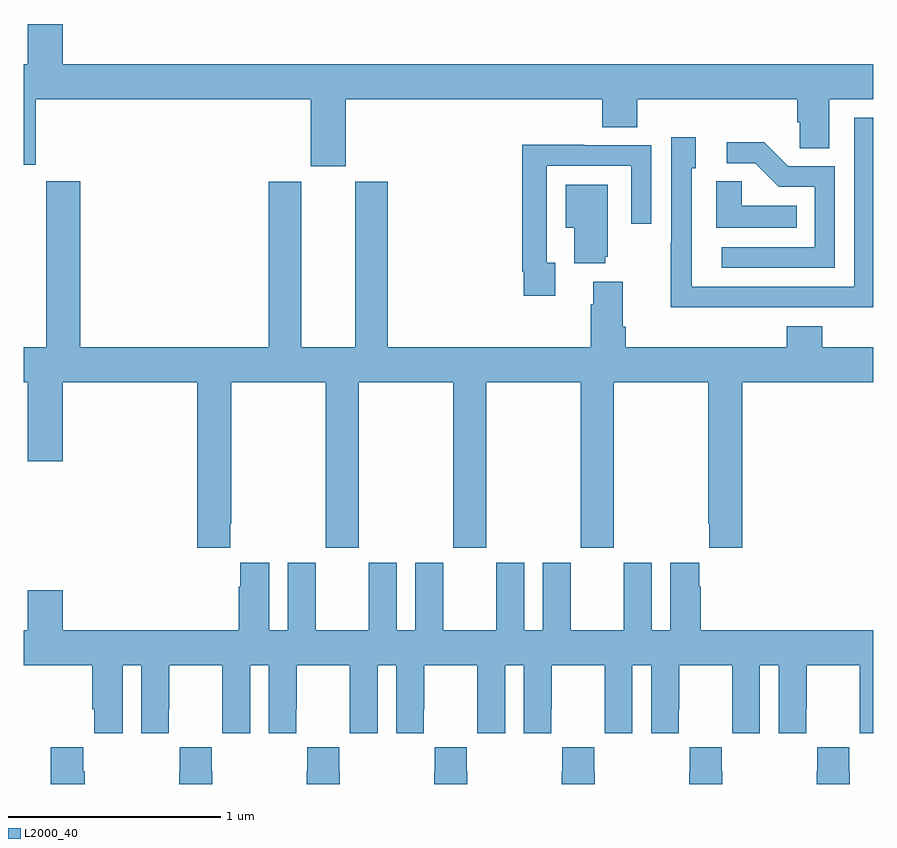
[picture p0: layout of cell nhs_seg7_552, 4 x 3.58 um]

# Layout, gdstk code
import gdstk
lib = gdstk.Library(unit=1e-6, precision=1e-09)
def P(c, l, *ps):  # polygons
    for p in ps: c.add(gdstk.Polygon(p, *l))
L2000_40 = (2000, 40)

nhs_seg7_552 = lib.new_cell('nhs_seg7_552')
P(nhs_seg7_552, L2000_40, [(153.02,1059.388),(153,1059.388),(153,1058.915),(153.058,1058.915),(153.058,1059.224),(154.352,1059.224),(154.352,1058.907),(154.516,1058.907),(154.516,1059.224),(155.723,1059.224),(155.723,1059.091),(155.888,1059.091),(155.888,1059.224),(156.641,1059.224),(156.641,1059.115),(156.654,1059.115),(156.654,1058.992),(156.793,1058.992),(156.793,1059.224),(157,1059.224),(157,1059.388),(153.184,1059.388),(153.184,1059.577),(153.02,1059.577)],
  [(156.509,1058.244),(157,1058.244),(157,1059.135),(156.909,1059.135),(156.909,1058.34),(156.144,1058.34),(156.144,1058.898),(156.163,1058.898),(156.163,1059.043),(156.048,1059.043),(156.048,1058.549),(156.046,1058.549),(156.046,1058.243),(156.509,1058.243)],
  [(156.819,1058.907),(156.6,1058.907),(156.487,1059.02),(156.309,1059.02),(156.309,1058.922),(156.443,1058.922),(156.554,1058.811),(156.723,1058.811),(156.723,1058.526),(156.285,1058.526),(156.285,1058.43),(156.819,1058.43)],
  [(155.503,1058.454),(155.463,1058.454),(155.463,1058.91),(155.859,1058.91),(155.859,1058.637),(155.955,1058.637),(155.955,1059.006),(155.639,1059.006),(155.639,1059.008),(155.347,1059.008),(155.347,1058.41),(155.355,1058.41),(155.355,1058.298),(155.503,1058.298)],
  [(156.638,1058.722),(156.381,1058.722),(156.381,1058.837),(156.26,1058.837),(156.26,1058.618),(156.638,1058.618)],
  [(155.834,1058.152),(155.821,1058.152),(155.821,1058.365),(155.681,1058.365),(155.681,1058.258),(155.669,1058.258),(155.669,1058.056),(154.715,1058.056),(154.715,1058.835),(154.562,1058.835),(154.562,1058.056),(154.306,1058.056),(154.306,1058.835),(154.154,1058.835),(154.154,1058.056),(153.266,1058.056),(153.266,1058.836),(153.106,1058.836),(153.106,1058.056),(153,1058.056),(153,1057.892),(153.02,1057.892),(153.02,1057.518),(153.184,1057.518),(153.184,1057.892),(153.818,1057.892),(153.818,1057.113),(153.973,1057.113),(153.973,1057.225),(153.978,1057.225),(153.978,1057.892),(154.423,1057.892),(154.423,1057.113),(154.578,1057.113),(154.578,1057.892),(155.023,1057.892),(155.023,1057.113),(155.178,1057.113),(155.178,1057.892),(155.623,1057.892),(155.623,1057.113),(155.778,1057.113),(155.778,1057.892),(156.223,1057.892),(156.223,1057.225),(156.227,1057.225),(156.227,1057.113),(156.383,1057.113),(156.383,1057.892),(157,1057.892),(157,1058.056),(156.758,1058.056),(156.758,1058.155),(156.593,1058.155),(156.593,1058.056),(155.834,1058.056)],
  [(155.738,1058.481),(155.749,1058.481),(155.749,1058.821),(155.552,1058.821),(155.552,1058.618),(155.591,1058.618),(155.591,1058.45),(155.738,1058.45)],
  [(154.375,1057.042),(154.244,1057.042),(154.244,1056.724),(154.156,1056.724),(154.156,1057.042),(154.019,1057.042),(154.019,1056.929),(154.013,1056.929),(154.013,1056.724),(153.184,1056.724),(153.184,1056.913),(153.02,1056.913),(153.02,1056.724),(153,1056.724),(153,1056.56),(153.323,1056.56),(153.323,1056.352),(153.332,1056.352),(153.332,1056.24),(153.466,1056.24),(153.466,1056.56),(153.554,1056.56),(153.554,1056.24),(153.684,1056.24),(153.684,1056.352),(153.685,1056.352),(153.685,1056.56),(153.935,1056.56),(153.935,1056.352),(153.936,1056.352),(153.936,1056.24),(154.066,1056.24),(154.066,1056.56),(154.154,1056.56),(154.154,1056.24),(154.284,1056.24),(154.284,1056.352),(154.285,1056.352),(154.285,1056.56),(154.535,1056.56),(154.535,1056.352),(154.536,1056.352),(154.536,1056.24),(154.666,1056.24),(154.666,1056.56),(154.754,1056.56),(154.754,1056.24),(154.884,1056.24),(154.884,1056.352),(154.885,1056.352),(154.885,1056.56),(155.135,1056.56),(155.135,1056.352),(155.136,1056.352),(155.136,1056.24),(155.266,1056.24),(155.266,1056.56),(155.354,1056.56),(155.354,1056.24),(155.484,1056.24),(155.484,1056.352),(155.485,1056.352),(155.485,1056.56),(155.735,1056.56),(155.735,1056.352),(155.736,1056.352),(155.736,1056.24),(155.866,1056.24),(155.866,1056.56),(155.954,1056.56),(155.954,1056.24),(156.084,1056.24),(156.084,1056.352),(156.085,1056.352),(156.085,1056.56),(156.335,1056.56),(156.335,1056.352),(156.336,1056.352),(156.336,1056.24),(156.466,1056.24),(156.466,1056.56),(156.554,1056.56),(156.554,1056.24),(156.684,1056.24),(156.684,1056.352),(156.685,1056.352),(156.685,1056.56),(156.935,1056.56),(156.935,1056.352),(156.936,1056.352),(156.936,1056.24),(157,1056.24),(157,1056.724),(156.188,1056.724),(156.188,1056.929),(156.181,1056.929),(156.181,1057.042),(156.044,1057.042),(156.044,1056.724),(155.956,1056.724),(155.956,1057.042),(155.825,1057.042),(155.825,1056.724),(155.575,1056.724),(155.575,1057.042),(155.444,1057.042),(155.444,1056.724),(155.356,1056.724),(155.356,1057.042),(155.225,1057.042),(155.225,1056.724),(154.975,1056.724),(154.975,1057.042),(154.844,1057.042),(154.844,1056.724),(154.756,1056.724),(154.756,1057.042),(154.625,1057.042),(154.625,1056.724),(154.375,1056.724)],
  [(155.688,1056.059),(155.685,1056.059),(155.685,1056.172),(155.535,1056.172),(155.535,1056.059),(155.533,1056.059),(155.533,1056),(155.688,1056)],
  [(156.888,1056.059),(156.885,1056.059),(156.885,1056.172),(156.735,1056.172),(156.735,1056.059),(156.733,1056.059),(156.733,1056),(156.888,1056)],
  [(156.288,1056.059),(156.285,1056.059),(156.285,1056.172),(156.135,1056.172),(156.135,1056.059),(156.133,1056.059),(156.133,1056),(156.288,1056)],
  [(155.088,1056.059),(155.085,1056.059),(155.085,1056.172),(154.935,1056.172),(154.935,1056.059),(154.933,1056.059),(154.933,1056),(155.088,1056)],
  [(154.488,1056.059),(154.485,1056.059),(154.485,1056.172),(154.335,1056.172),(154.335,1056.059),(154.333,1056.059),(154.333,1056),(154.488,1056)],
  [(153.888,1056.059),(153.885,1056.059),(153.885,1056.172),(153.735,1056.172),(153.735,1056.059),(153.733,1056.059),(153.733,1056),(153.888,1056)],
  [(153.288,1056.059),(153.281,1056.059),(153.281,1056.172),(153.128,1056.172),(153.128,1056),(153.288,1056)])

lib.write_gds('nhs_seg7_552.gds')
